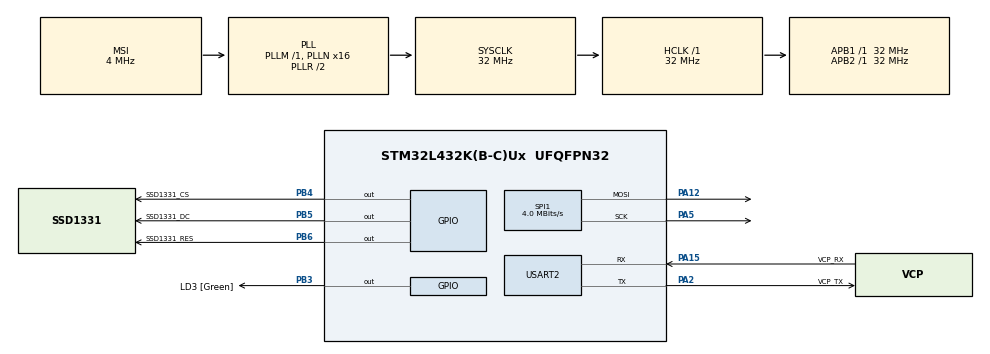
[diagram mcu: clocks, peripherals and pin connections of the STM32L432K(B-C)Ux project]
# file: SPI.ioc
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Mcu.Family=STM32L4
Mcu.Name=STM32L432K(B-C)Ux
Mcu.Package=UFQFPN32
NVIC.PriorityGroup=NVIC_PRIORITYGROUP_4
PA0.GPIO_Label=MCO [High speed clock in]
PA0.Mode=HSE-External-Clock-Source-for-LittleOrca
PA0.Signal=RCC_CK_IN
PA12.Mode=TX_Only_Simplex_Unidirect_Master
PA12.Signal=SPI1_MOSI
PA13\ (JTMS-SWDIO).GPIO_Label=SWDIO
PA13\ (JTMS-SWDIO).Mode=Serial_Wire
PA13\ (JTMS-SWDIO).Signal=SYS_JTMS-SWDIO
PA14\ (JTCK-SWCLK).GPIO_Label=SWCLK
PA14\ (JTCK-SWCLK).Mode=Serial_Wire
PA14\ (JTCK-SWCLK).Signal=SYS_JTCK-SWCLK
PA15\ (JTDI).GPIO_Label=VCP_RX
PA15\ (JTDI).Mode=Asynchronous
PA15\ (JTDI).Signal=USART2_RX
PA2.GPIO_Label=VCP_TX
PA2.Mode=Asynchronous
PA2.Signal=USART2_TX
PA5.Mode=TX_Only_Simplex_Unidirect_Master
PA5.Signal=SPI1_SCK
PB3\ (JTDO-TRACESWO).GPIO_Label=LD3 [Green]
PB3\ (JTDO-TRACESWO).Signal=GPIO_Output
PB4\ (NJTRST).GPIO_Label=SSD1331_CS
PB4\ (NJTRST).Signal=GPIO_Output
PB5.GPIO_Label=SSD1331_DC
PB5.Signal=GPIO_Output
PB6.GPIO_Label=SSD1331_RES
PB6.Signal=GPIO_Output
PC14-OSC32_IN\ (PC14).Mode=LSE-External-Oscillator
PC14-OSC32_IN\ (PC14).Signal=RCC_OSC32_IN
PC15-OSC32_OUT\ (PC15).Mode=LSE-External-Oscillator
PC15-OSC32_OUT\ (PC15).Signal=RCC_OSC32_OUT
ProjectManager.HeapSize=0x200
ProjectManager.StackSize=0x400
ProjectManager.TargetToolchain=STM32CubeIDE
RCC.AHBFreq_Value=32000000
RCC.APB1Freq_Value=32000000
RCC.APB1TimFreq_Value=32000000
RCC.APB2Freq_Value=32000000
RCC.APB2TimFreq_Value=32000000
RCC.CortexFreq_Value=32000000
RCC.HCLKFreq_Value=32000000
RCC.HSE_VALUE=8000000
RCC.HSI16_VALUE=16000000
RCC.HSI48_VALUE=48000000
RCC.HSI_VALUE=16000000
RCC.MSI_VALUE=4000000
RCC.PLLMUL=RCC_PLLMUL_4
RCC.PLLN=16
RCC.SYSCLKFreq_VALUE=32000000
RCC.SYSCLKSource=RCC_SYSCLKSOURCE_PLLCLK
RCC.VCOOutputFreq_Value=64000000
SPI1.BaudRatePrescaler=SPI_BAUDRATEPRESCALER_8
SPI1.CalculateBaudRate=4.0 MBits/s
SPI1.DataSize=SPI_DATASIZE_8BIT
SPI1.Direction=SPI_DIRECTION_2LINES
SPI1.Mode=SPI_MODE_MASTER
SPI1.VirtualType=VM_MASTER
USART2.VirtualMode-Asynchronous=VM_ASYNC
board=NUCLEO-L432KC

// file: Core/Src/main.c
/* USER CODE BEGIN Header */
/*******************************************************************************
 * FILE               : main.c
 * PROJECT			  : PROG8126 - #Final Exam
 * PROGRAMMER		  : Vivek Solanki (8925804)
 * First Version	  : 13/12/2023
 * Description        : This File contains all the required function to full fill the
 * 						requirement of Final Exam, which should read the user name user height and weight
 * 						and the calculate BMI and prints that on OLED
 *
 *  ******************************************************************************
 */
/* USER CODE END Header */
#include "main.h"
#include "ssd1331.h"
#include <stdio.h>
#include <stdbool.h>
#include <ctype.h>
#include <string.h>

/* USER CODE BEGIN PTD */
#define USER_NAME_LEN			20

/* USER CODE END PTD */

/* USER CODE BEGIN PD */
typedef enum
{
	USER_INFO_STATE_WELCOME,
	USER_INFO_STATE_NAME,
	USER_INFO_STATE_HEIGHT,
	USER_INFO_STATE_WEIGHT,
	USER_INFO_STATE_BMI,
	USER_INFO_STATE_MAX
} userInfoState_e;

typedef struct
{
	char name[USER_NAME_LEN + 1];
	float height;
	float weight;
	float userBMI;
} userInfo_t;
/* USER CODE END PD */

SPI_HandleTypeDef hspi1;

UART_HandleTypeDef huart2;

static userInfoState_e userInfoState = USER_INFO_STATE_WELCOME;

void SystemClock_Config(void);
static void MX_GPIO_Init(void);
static void MX_USART2_UART_Init(void);
static void MX_SPI1_Init(void);

/* USER CODE BEGIN 0 */
/*******************************************************************************
 * FUNCTION      : startUpOLEDSplashScreen
 * PARAMETERS    : None
 * RETURNS       : nothing
 * DESCRIPTION   : displays Welcom for 2s
 * 				   on line 1 of the display and Disappears
 *******************************************************************************
 */
void startUpOLEDSplashScreen(void)
{
	char stringBuffer[16] = { 0 };
	ssd1331_clear_screen (BLACK);
	snprintf (stringBuffer, sizeof(stringBuffer), "   Welcome");
	ssd1331_display_string (0, 0, stringBuffer, FONT_1608, GOLDEN);
	HAL_Delay (2000);
}

/*******************************************************************************
 * FUNCTION      : getName()
 * PARAMETERS    : userInfo_t *iuserInfo
 * RETURNS       : returns false if user name starts with 0 else 1
 * DESCRIPTION   : displays Enter Name and reads name from serial
 *******************************************************************************
 */
bool getName(userInfo_t *iuserInfo)
{
	ssd1331_clear_screen (BLACK);

	char stringBuffer[16] = { 0 };
	snprintf (stringBuffer, sizeof(stringBuffer), "Enter Name");
	ssd1331_display_string (0, 0, stringBuffer, FONT_1206, WHITE);

	scanf ("%s", iuserInfo->name);

	if (iuserInfo->name[0] == '0')
		return false;
	return true;
}

/*******************************************************************************
 * FUNCTION      : getHeight()
 * PARAMETERS    : userInfo_t *iuserInfo
 * RETURNS       : True if height is entered non zero
 * 				   False if height is entered as zero
 * DESCRIPTION   : displays Enter Height and reads Height from serial
 *
 *******************************************************************************
 */
bool getHeight(userInfo_t *iuserInfo)
{
	char stringBuffer[16] = { 0 };
	ssd1331_clear_screen (BLACK);
	snprintf (stringBuffer, sizeof(stringBuffer), "Enter Height");
	ssd1331_display_string (0, 0, stringBuffer, FONT_1206, WHITE);

	scanf ("%f", &iuserInfo->height);

	if (iuserInfo->height == 0.0)
	{
		return false;
	}
	return true;
}

/*******************************************************************************
 * FUNCTION      : getWeight()
 * PARAMETERS    : userInfo_t *iuserInfo
 * RETURNS       : True if Weight is entered non zero
 * 				   False if Weight is entered as zero
 * DESCRIPTION   : displays Enter Weight and reads Weight from serial
 *
 *******************************************************************************
 */
bool getWeight(userInfo_t *iuserInfo)
{
	char stringBuffer[16] = { 0 };
	ssd1331_clear_screen (BLACK);

	snprintf (stringBuffer, sizeof(stringBuffer), "Enter Weight");
	ssd1331_display_string (0, 0, stringBuffer, FONT_1206, WHITE);

	scanf ("%f", &iuserInfo->weight);

	if (iuserInfo->weight == 0.0)
	{
		return false;
	}
	return true;
}

/*******************************************************************************
 * FUNCTION      : calculateAndDisplayBMI()
 * PARAMETERS    : userInfo_t *iuserInfo
 * RETURNS       : None
 * DESCRIPTION   : calculates and display BMI on OLED
 *
 *******************************************************************************
 */
void calculateAndDisplayBMI(userInfo_t *iuserInfo)
{
	char stringBuffer[50] = { 0 };
	ssd1331_clear_screen (BLACK);

	iuserInfo->userBMI = iuserInfo->weight / (iuserInfo->height * iuserInfo->height);

	snprintf (stringBuffer, sizeof(stringBuffer), "%s : %0.1f", iuserInfo->name,
	          iuserInfo->userBMI);

	ssd1331_display_string (0, 0, stringBuffer, FONT_1608, GOLDEN);
}

/* USER CODE END 0 */

int main(void)
{

	/* MCU Configuration--------------------------------------------------------*/

	/* Reset of all peripherals, Initializes the Flash interface and the Systick. */
	HAL_Init ();

	/* Configure the system clock */
	SystemClock_Config ();

	/* Initialize all configured peripherals */
	MX_GPIO_Init ();
	MX_USART2_UART_Init ();
	MX_SPI1_Init ();
	ssd1331_init ();
	ssd1331_clear_screen (BLACK);
	/* USER CODE BEGIN 2 */

	userInfo_t userInformation;
	/* USER CODE END 2 */

	/* Infinite loop */
	while (1)
	{

		/* USER CODE BEGIN 3 */
		switch (userInfoState)
		{
			case USER_INFO_STATE_WELCOME:
			{
				startUpOLEDSplashScreen ();
				userInfoState++;
				break;
			}

			case USER_INFO_STATE_NAME:
			{
				if (getName (&userInformation))
				{
					userInfoState++;
					break;
				}
				userInfoState = USER_INFO_STATE_WELCOME;
				break;
			}

			case USER_INFO_STATE_HEIGHT:
			{
				if (getHeight (&userInformation))
				{
					userInfoState++;
					break;
				}
				userInfoState = USER_INFO_STATE_WELCOME;
				break;
			}

			case USER_INFO_STATE_WEIGHT:
			{
				if (getWeight (&userInformation))
				{
					userInfoState++;
					break;
				}
				userInfoState = USER_INFO_STATE_WELCOME;
				break;
			}

			case USER_INFO_STATE_BMI:
			{
				calculateAndDisplayBMI (&userInformation);
				HAL_Delay (1000);
				userInfoState = USER_INFO_STATE_WELCOME;
				break;
			}

			default:
			{
				userInfoState = USER_INFO_STATE_WELCOME;
				break;
			}
		}
		/* USER CODE END 3 */
	}
}
void SystemClock_Config(void)
{
	RCC_OscInitTypeDef RCC_OscInitStruct = { 0 };
	RCC_ClkInitTypeDef RCC_ClkInitStruct = { 0 };

	/** Configure the main internal regulator output voltage
	 */
	if (HAL_PWREx_ControlVoltageScaling (PWR_REGULATOR_VOLTAGE_SCALE1) != HAL_OK)
	{
		Error_Handler ();
	}

	/** Configure LSE Drive Capability
	 */
	HAL_PWR_EnableBkUpAccess ();
	__HAL_RCC_LSEDRIVE_CONFIG(RCC_LSEDRIVE_LOW);

	/** Initializes the RCC Oscillators according to the specified parameters
	 * in the RCC_OscInitTypeDef structure.
	 */
	RCC_OscInitStruct.OscillatorType =
	RCC_OSCILLATORTYPE_LSE | RCC_OSCILLATORTYPE_MSI;
	RCC_OscInitStruct.LSEState = RCC_LSE_ON;
	RCC_OscInitStruct.MSIState = RCC_MSI_ON;
	RCC_OscInitStruct.MSICalibrationValue = 0;
	RCC_OscInitStruct.MSIClockRange = RCC_MSIRANGE_6;
	RCC_OscInitStruct.PLL.PLLState = RCC_PLL_ON;
	RCC_OscInitStruct.PLL.PLLSource = RCC_PLLSOURCE_MSI;
	RCC_OscInitStruct.PLL.PLLM = 1;
	RCC_OscInitStruct.PLL.PLLN = 16;
	RCC_OscInitStruct.PLL.PLLP = RCC_PLLP_DIV7;
	RCC_OscInitStruct.PLL.PLLQ = RCC_PLLQ_DIV2;
	RCC_OscInitStruct.PLL.PLLR = RCC_PLLR_DIV2;
	if (HAL_RCC_OscConfig (&RCC_OscInitStruct) != HAL_OK)
	{
		Error_Handler ();
	}

	/** Initializes the CPU, AHB and APB buses clocks
	 */
	RCC_ClkInitStruct.ClockType = RCC_CLOCKTYPE_HCLK | RCC_CLOCKTYPE_SYSCLK
	                | RCC_CLOCKTYPE_PCLK1 | RCC_CLOCKTYPE_PCLK2;
	RCC_ClkInitStruct.SYSCLKSource = RCC_SYSCLKSOURCE_PLLCLK;
	RCC_ClkInitStruct.AHBCLKDivider = RCC_SYSCLK_DIV1;
	RCC_ClkInitStruct.APB1CLKDivider = RCC_HCLK_DIV1;
	RCC_ClkInitStruct.APB2CLKDivider = RCC_HCLK_DIV1;

	if (HAL_RCC_ClockConfig (&RCC_ClkInitStruct, FLASH_LATENCY_1) != HAL_OK)
	{
		Error_Handler ();
	}

	/** Enable MSI Auto calibration
	 */
	HAL_RCCEx_EnableMSIPLLMode ();
}

static void MX_SPI1_Init(void)
{

	/* SPI1 parameter configuration*/
	hspi1.Instance = SPI1;
	hspi1.Init.Mode = SPI_MODE_MASTER;
	hspi1.Init.Direction = SPI_DIRECTION_2LINES;
	hspi1.Init.DataSize = SPI_DATASIZE_8BIT;
	hspi1.Init.CLKPolarity = SPI_POLARITY_LOW;
	hspi1.Init.CLKPhase = SPI_PHASE_1EDGE;
	hspi1.Init.NSS = SPI_NSS_SOFT;
	hspi1.Init.BaudRatePrescaler = SPI_BAUDRATEPRESCALER_8;
	hspi1.Init.FirstBit = SPI_FIRSTBIT_MSB;
	hspi1.Init.TIMode = SPI_TIMODE_DISABLE;
	hspi1.Init.CRCCalculation = SPI_CRCCALCULATION_DISABLE;
	hspi1.Init.CRCPolynomial = 7;
	hspi1.Init.CRCLength = SPI_CRC_LENGTH_DATASIZE;
	hspi1.Init.NSSPMode = SPI_NSS_PULSE_ENABLE;
	if (HAL_SPI_Init (&hspi1) != HAL_OK)
	{
		Error_Handler ();
	}

}

static void MX_USART2_UART_Init(void)
{

	huart2.Instance = USART2;
	huart2.Init.BaudRate = 115200;
	huart2.Init.WordLength = UART_WORDLENGTH_8B;
	huart2.Init.StopBits = UART_STOPBITS_1;
	huart2.Init.Parity = UART_PARITY_NONE;
	huart2.Init.Mode = UART_MODE_TX_RX;
	huart2.Init.HwFlowCtl = UART_HWCONTROL_NONE;
	huart2.Init.OverSampling = UART_OVERSAMPLING_16;
	huart2.Init.OneBitSampling = UART_ONE_BIT_SAMPLE_DISABLE;
	huart2.AdvancedInit.AdvFeatureInit = UART_ADVFEATURE_NO_INIT;
	if (HAL_UART_Init (&huart2) != HAL_OK)
	{
		Error_Handler ();
	}

}

static void MX_GPIO_Init(void)
{
	GPIO_InitTypeDef GPIO_InitStruct = { 0 };

	/* GPIO Ports Clock Enable */
	__HAL_RCC_GPIOC_CLK_ENABLE();
	__HAL_RCC_GPIOA_CLK_ENABLE();
	__HAL_RCC_GPIOB_CLK_ENABLE();

	/*Configure GPIO pin Output Level */
	HAL_GPIO_WritePin (GPIOB,
	LD3_Pin | SSD1331_CS_Pin | SSD1331_DC_Pin | SSD1331_RES_Pin,
	                   GPIO_PIN_RESET);

	/*Configure GPIO pins : LD3_Pin SSD1331_CS_Pin SSD1331_DC_Pin SSD1331_RES_Pin */
	GPIO_InitStruct.Pin = LD3_Pin | SSD1331_CS_Pin | SSD1331_DC_Pin | SSD1331_RES_Pin;
	GPIO_InitStruct.Mode = GPIO_MODE_OUTPUT_PP;
	GPIO_InitStruct.Pull = GPIO_NOPULL;
	GPIO_InitStruct.Speed = GPIO_SPEED_FREQ_LOW;
	HAL_GPIO_Init (GPIOB, &GPIO_InitStruct);

}

void Error_Handler(void)
{
	/* USER CODE BEGIN Error_Handler_Debug */
	/* User can add his own implementation to report the HAL error return state */
	__disable_irq ();
	while (1)
	{
	}
	/* USER CODE END Error_Handler_Debug */
}
